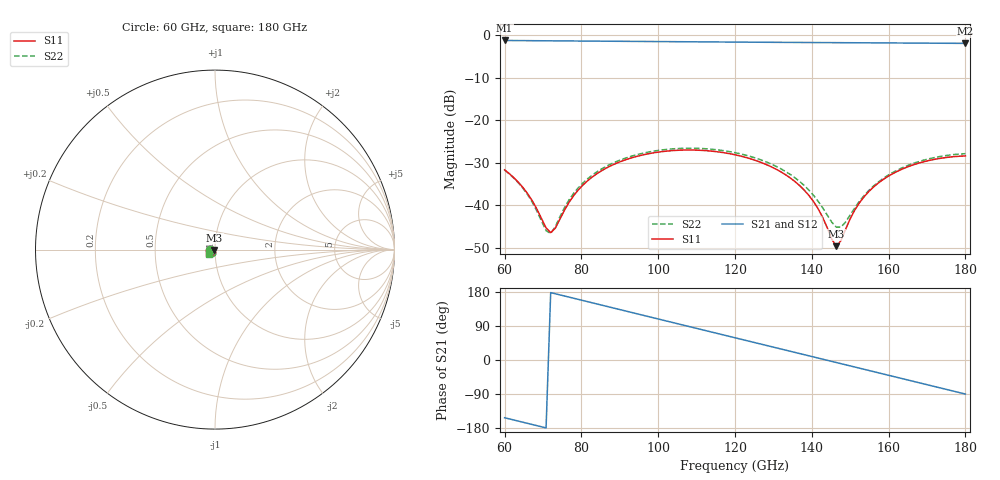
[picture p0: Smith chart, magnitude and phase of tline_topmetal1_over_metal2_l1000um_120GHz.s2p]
#  GHZ S DB R 50
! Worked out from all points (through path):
!   101 points, 60 GHz to 180 GHz, reference 50 ohm
!   highest |S21| = -1.24 dB at 60 GHz (marker M1); lowest = -1.9 dB at 180 GHz (marker M2)
!   group delay of S21, straight-line fit = 6.89 ps
!   lowest |S11| = -49.7 dB at 146.4 GHz (marker M3), VSWR 1.01, Z = 49.7 - j0.147 ohm
!   |S11| at or under -10 dB: start of sweep to end of sweep
!   |S22| runs from -46.7 to -26.6 dB; largest |S21 - S12| = 0
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60  -31.71 -171.9  -1.24 -152.4  -1.24 -152.4  -31.76 -171.6
66  -37.32 -179.4  -1.29 -167.3  -1.29 -167.3  -37.57 -178.7
70.8  -45.37 -151.7  -1.32 -179.2  -1.32 -179.2  -46.02 -145.8
72  -46.47 -127.3  -1.33 177.8  -1.33 177.8  -46.68 -118.5
73.2  -45.45 -103.0  -1.34 174.8  -1.34 174.8  -45.09 -94.9
76.8  -39.33 -76.4  -1.36 165.9  -1.36 165.9  -38.76 -72.7
80.4  -35.28 -76.4  -1.38 157.0  -1.38 157.0  -34.80 -73.8
88.8  -30.28 -92.2  -1.43 136.1  -1.43 136.1  -29.87 -90.0
100.8  -27.44 -121.5  -1.51 106.3  -1.51 106.3  -27.04 -119.0
110.4  -27.08 -145.6  -1.57 82.5  -1.57 82.5  -26.65 -142.6
120  -28.16 -169.4  -1.63 58.7  -1.63 58.7  -27.66 -165.6
132  -32.21 163.1  -1.69 29.0  -1.69 29.0  -31.49 168.8
136.8  -35.39 154.4  -1.72 17.1  -1.72 17.1  -34.41 161.7
140.4  -39.10 151.4  -1.73 8.2  -1.73 8.2  -37.66 160.7
146.4  -49.68 -153.2  -1.76 -6.7  -1.76 -6.7  -45.20 -159.4
147.6  -48.37 -123.1  -1.77 -9.6  -1.77 -9.6  -45.18 -139.5
148.8  -45.70 -106.0  -1.77 -12.6  -1.77 -12.6  -43.99 -122.7
151.2  -41.17 -94.9  -1.79 -18.6  -1.79 -18.6  -40.64 -105.4
153.6  -38.06 -94.0  -1.80 -24.5  -1.80 -24.5  -37.78 -100.4
160.8  -32.74 -104.8  -1.83 -42.3  -1.83 -42.3  -32.47 -106.1
170.4  -29.53 -125.6  -1.88 -66.1  -1.88 -66.1  -29.13 -124.2
180  -28.44 -147.6  -1.93 -89.9  -1.93 -89.9  -27.89 -144.5
